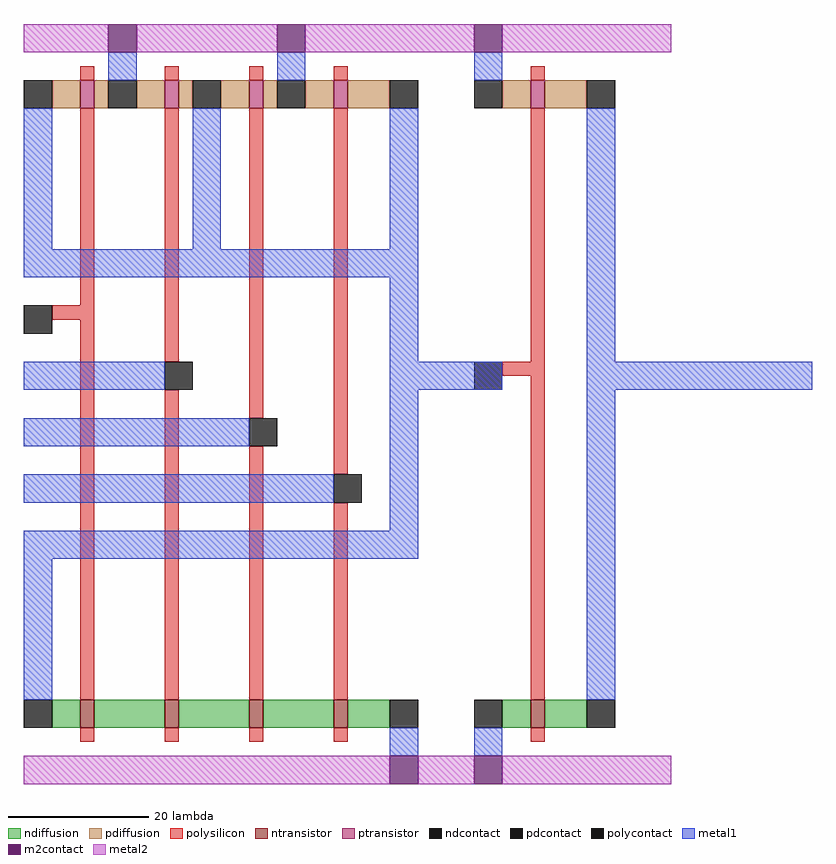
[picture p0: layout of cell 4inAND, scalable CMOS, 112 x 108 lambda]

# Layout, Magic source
magic
tech scmos
<< polysilicon >>
rect 8 100 10 102
rect 20 100 22 102
rect 32 100 34 102
rect 44 100 46 102
rect 8 68 10 96
rect 4 66 10 68
rect 8 12 10 66
rect 20 60 22 96
rect 20 12 22 56
rect 32 52 34 96
rect 32 12 34 48
rect 44 44 46 96
rect 44 12 46 40
rect 8 6 10 8
rect 20 6 22 8
rect 32 6 34 8
rect 44 6 46 8
<< ndiffusion >>
rect 4 8 8 12
rect 10 8 20 12
rect 22 8 32 12
rect 34 8 44 12
rect 46 8 52 12
<< pdiffusion >>
rect 4 96 8 100
rect 10 96 12 100
rect 16 96 20 100
rect 22 96 24 100
rect 28 96 32 100
rect 34 96 36 100
rect 40 96 44 100
rect 46 96 52 100
<< metal1 >>
rect 12 100 16 104
rect 36 100 40 104
rect 0 76 4 96
rect 24 76 28 96
rect 52 76 56 96
rect 0 72 56 76
rect 52 60 56 72
rect 0 56 20 60
rect 52 56 68 60
rect 80 56 112 60
rect 0 48 32 52
rect 0 40 44 44
rect 52 36 56 56
rect 0 32 56 36
rect 0 12 4 32
rect 52 4 56 8
<< metal2 >>
rect 0 104 12 108
rect 16 104 36 108
rect 40 104 56 108
rect 0 0 52 4
<< ntransistor >>
rect 8 8 10 12
rect 20 8 22 12
rect 32 8 34 12
rect 44 8 46 12
<< ptransistor >>
rect 8 96 10 100
rect 20 96 22 100
rect 32 96 34 100
rect 44 96 46 100
<< polycontact >>
rect 0 64 4 68
rect 20 56 24 60
rect 32 48 36 52
rect 44 40 48 44
<< ndcontact >>
rect 0 8 4 12
rect 52 8 56 12
<< pdcontact >>
rect 0 96 4 100
rect 12 96 16 100
rect 24 96 28 100
rect 36 96 40 100
rect 52 96 56 100
<< m2contact >>
rect 12 104 16 108
rect 36 104 40 108
rect 52 0 56 4
use inverter  inverter_0
transform 1 0 56 0 1 0
box 0 0 36 108
<< end >>

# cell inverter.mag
magic
tech scmos
<< polysilicon >>
rect 16 100 18 102
rect 16 60 18 96
rect 12 58 18 60
rect 16 12 18 58
rect 16 6 18 8
<< ndiffusion >>
rect 12 8 16 12
rect 18 8 24 12
<< pdiffusion >>
rect 12 96 16 100
rect 18 96 24 100
<< metal1 >>
rect 8 100 12 104
rect 24 12 28 96
rect 8 4 12 8
<< metal2 >>
rect 0 104 8 108
rect 12 104 36 108
rect 0 0 8 4
rect 12 0 36 4
<< ntransistor >>
rect 16 8 18 12
<< ptransistor >>
rect 16 96 18 100
<< polycontact >>
rect 8 56 12 60
<< ndcontact >>
rect 8 8 12 12
rect 24 8 28 12
<< pdcontact >>
rect 8 96 12 100
rect 24 96 28 100
<< m2contact >>
rect 8 104 12 108
rect 8 0 12 4
<< end >>
